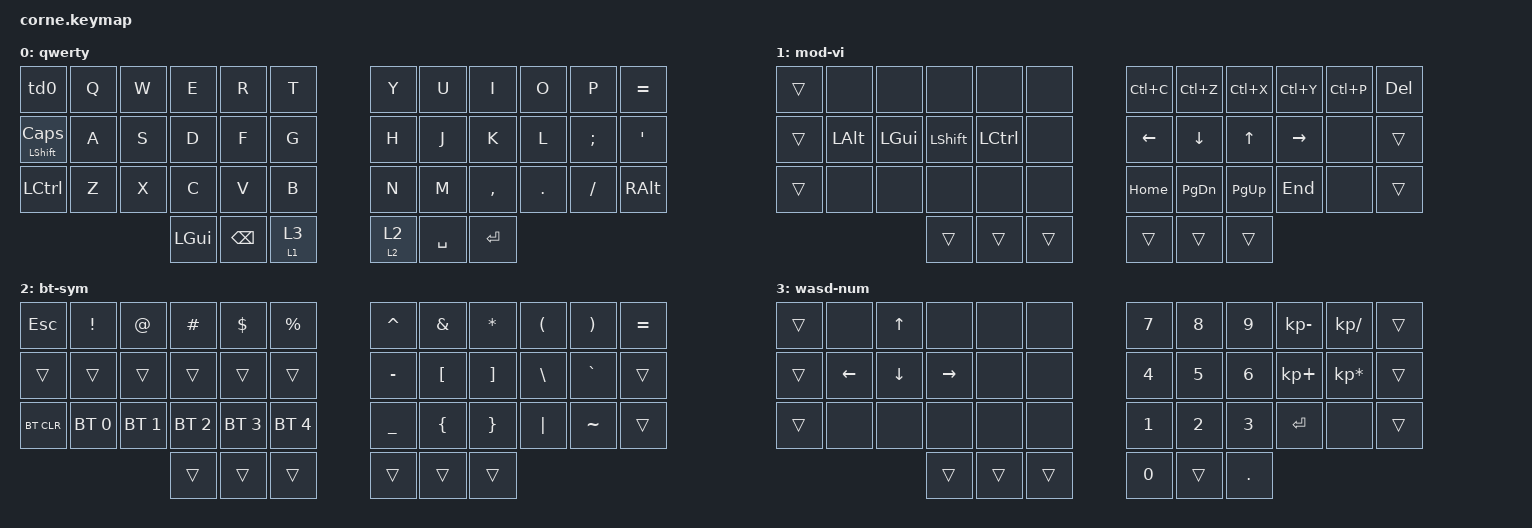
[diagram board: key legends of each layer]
/*
 * Copyright (c) 2020 The ZMK Contributors
 *
 * SPDX-License-Identifier: MIT
 */

#include <behaviors.dtsi>
#include <dt-bindings/zmk/bt.h>
#include <dt-bindings/zmk/keys.h>

/ {
    combos {
        compatible = "zmk,combos";

        delete {
            bindings = <&kp DELETE>;
            key-positions = <12 37>;
            layers = <0>;
        };
    };

    behaviors {
        td0: tap_dance_0 {
            compatible = "zmk,behavior-tap-dance";
            label = "TD_TAB_ESC";
            #binding-cells = <0>;
            bindings =
                <&kp TAB>,
                <&kp ESC>;
        };
        ht0: hold_tap_0 {
            compatible = "zmk,behavior-hold-tap";
            label = "HT_LAYERS";
            bindings =
                <&mo>,
                <&tog>;

            #binding-cells = <2>;
            tapping-term-ms = <200>;
        };
    };

    keymap {
        compatible = "zmk,keymap";

        default_layer {
            label = "qwerty";
            bindings = <
                   &td0  &kp Q  &kp W     &kp E          &kp R     &kp T       &kp Y      &kp U      &kp I    &kp O     &kp P      &kp EQUAL
&mt LEFT_SHIFT CAPSLOCK  &kp A  &kp S     &kp D          &kp F     &kp G       &kp H      &kp J      &kp K    &kp L  &kp SEMI        &kp SQT
       &kp LEFT_CONTROL  &kp Z  &kp X     &kp C          &kp V     &kp B       &kp N      &kp M  &kp COMMA  &kp DOT  &kp FSLH  &kp RIGHT_ALT
                                       &kp LGUI  &kp BACKSPACE  &ht0 1 3    &ht0 2 2  &kp SPACE  &kp ENTER
            >;
        };

        layer_1 {
            label = "mod-vi";
            bindings = <
&trans         &none         &none           &none      &none   &none    &kp LC(C)      &kp LC(Z)    &kp LC(X)  &kp LC(Y)  &kp LC(P)  &kp DELETE
&trans  &kp LEFT_ALT  &kp LEFT_GUI  &kp LEFT_SHIFT  &kp LCTRL   &none     &kp LEFT       &kp DOWN       &kp UP  &kp RIGHT      &none      &trans
&trans         &none         &none           &none      &none   &none     &kp HOME  &kp PAGE_DOWN  &kp PAGE_UP    &kp END      &none      &trans
                                            &trans     &trans  &trans       &trans         &trans       &trans
            >;
        };

        layer_2 {
            label = "bt-sym";
            bindings = <
&kp ESCAPE      &kp EXCL        &kp AT      &kp HASH      &kp DLLR     &kp PRCNT    &kp CARET  &kp AMPS  &kp ASTERISK  &kp LPAR   &kp RPAR  &kp EQUAL
    &trans        &trans        &trans        &trans        &trans        &trans    &kp MINUS  &kp LBKT      &kp RBKT  &kp BSLH  &kp GRAVE     &trans
&bt BT_CLR  &bt BT_SEL 0  &bt BT_SEL 1  &bt BT_SEL 2  &bt BT_SEL 3  &bt BT_SEL 4    &kp UNDER  &kp LBRC      &kp RBRC  &kp PIPE  &kp TILDE     &trans
                                              &trans        &trans        &trans       &trans    &trans        &trans
            >;
        };

        layer_3 {
            label = "wasd-num";
            bindings = <
&trans           &none    &kp UP_ARROW            &none   &none   &none    &kp NUMBER_7  &kp NUMBER_8  &kp NUMBER_9  &kp KP_SUBTRACT    &kp KP_DIVIDE  &trans
&trans  &kp LEFT_ARROW  &kp DOWN_ARROW  &kp RIGHT_ARROW   &none   &none    &kp NUMBER_4  &kp NUMBER_5  &kp NUMBER_6      &kp KP_PLUS  &kp KP_MULTIPLY  &trans
&trans           &none           &none            &none   &none   &none    &kp NUMBER_1  &kp NUMBER_2  &kp NUMBER_3        &kp ENTER            &none  &trans
                                                 &trans  &trans  &trans          &kp N0        &trans       &kp DOT
            >;
        };
    };
};
